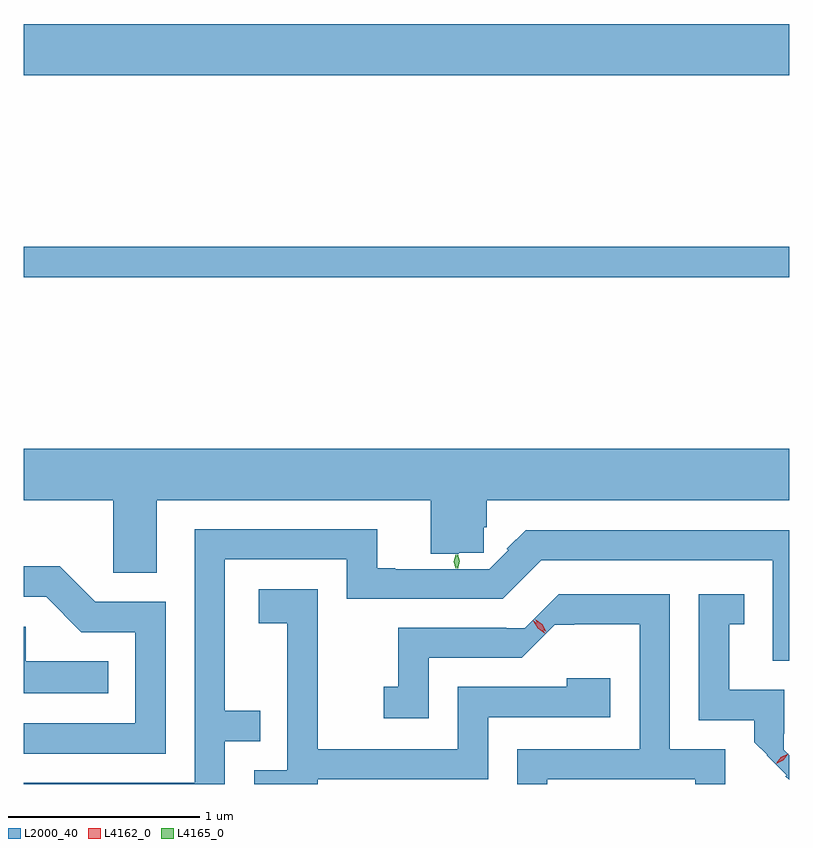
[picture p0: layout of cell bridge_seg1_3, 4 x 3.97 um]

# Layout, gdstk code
import gdstk
lib = gdstk.Library(unit=1e-6, precision=1e-09)
def R(c, l, rs):  # rectangles x0, y0, x1, y1
    for r in rs: c.add(gdstk.rectangle(r[:2], r[2:], *l))
def P(c, l, *ps):  # polygons
    for p in ps: c.add(gdstk.Polygon(p, *l))
L2000_40 = (2000, 40)
L4162_0 = (4162, 0)
L4165_0 = (4165, 0)

bridge_seg1_3 = lib.new_cell('bridge_seg1_3')
R(bridge_seg1_3, L2000_40, [(1534.533,878.541,1538.533,878.699), (1534.533,879.596,1538.533,879.864)])
P(bridge_seg1_3, L2000_40, [(1535.229,877.376),(1536.661,877.376),(1536.661,877.096),(1536.807,877.096),(1536.807,877.101),(1536.938,877.101),(1536.938,877.234),(1536.952,877.234),(1536.952,877.376),(1538.533,877.376),(1538.533,877.644),(1534.533,877.644),(1534.533,877.376),(1535.001,877.376),(1535.001,876.996),(1535.229,876.996)],
  [(1535.584,876.116),(1535.768,876.116),(1535.768,876.274),(1535.584,876.274),(1535.584,877.066),(1536.221,877.066),(1536.221,876.861),(1537.037,876.861),(1537.237,877.061),(1538.446,877.061),(1538.446,876.536),(1538.533,876.536),(1538.533,877.219),(1537.155,877.219),(1537.057,877.121),(1537.064,877.114),(1536.965,877.014),(1536.475,877.014),(1536.475,877.019),(1536.379,877.019),(1536.379,877.224),(1535.426,877.224),(1535.426,875.899),(1534.533,875.899),(1534.533,875.892),(1535.584,875.892)],
  [(1535.274,876.844),(1534.907,876.844),(1534.722,877.029),(1534.533,877.029),(1534.533,876.871),(1534.649,876.871),(1534.834,876.686),(1535.116,876.686),(1535.116,876.209),(1534.533,876.209),(1534.533,876.051),(1535.274,876.051)],
  [(1536.069,875.916),(1536.959,875.916),(1536.959,876.241),(1537.599,876.241),(1537.599,876.444),(1537.371,876.444),(1537.371,876.399),(1536.801,876.399),(1536.801,876.074),(1536.069,876.074),(1536.069,876.909),(1535.761,876.909),(1535.761,876.731),(1535.911,876.731),(1535.911,875.964),(1535.736,875.964),(1535.736,875.892),(1536.069,875.892)],
  [(1538.533,876.043),(1538.505,876.071),(1538.505,876.155),(1538.508,876.155),(1538.508,876.384),(1538.219,876.384),(1538.219,876.726),(1538.298,876.726),(1538.298,876.884),(1538.061,876.884),(1538.061,876.226),(1538.351,876.226),(1538.351,876.111),(1538.418,876.044),(1538.416,876.042),(1538.519,875.939),(1538.513,875.933),(1538.533,875.913)],
  [(1537.269,875.916),(1538.041,875.916),(1538.041,875.892),(1538.199,875.892),(1538.199,876.074),(1537.909,876.074),(1537.909,876.884),(1537.329,876.884),(1537.151,876.706),(1537.055,876.706),(1537.055,876.709),(1536.491,876.709),(1536.491,876.399),(1536.413,876.399),(1536.413,876.236),(1536.649,876.236),(1536.649,876.551),(1537.136,876.551),(1537.309,876.724),(1537.409,876.724),(1537.409,876.726),(1537.751,876.726),(1537.751,876.074),(1537.111,876.074),(1537.111,875.892),(1537.269,875.892)],
  [(1534.973,876.534),(1534.544,876.534),(1534.544,876.714),(1534.533,876.714),(1534.533,876.366),(1534.973,876.366)])
P(bridge_seg1_3, L4162_0, [(1538.465,875.997),(1538.465,875.998),(1538.49,876.031),(1538.528,876.05),(1538.529,876.05),(1538.529,876.049),(1538.503,876.016),(1538.466,875.997)],
  [(1538.469,876.002),(1538.469,876.003),(1538.49,876.032),(1538.522,876.047),(1538.523,876.047),(1538.523,876.046),(1538.502,876.017),(1538.47,876.002)],
  [(1537.264,876.688),(1537.228,876.714),(1537.206,876.753),(1537.206,876.754),(1537.207,876.754),(1537.243,876.727),(1537.264,876.689),(1537.264,876.688)],
  [(1537.257,876.676),(1537.218,876.706),(1537.193,876.748),(1537.193,876.749),(1537.194,876.749),(1537.233,876.719),(1537.258,876.676),(1537.258,876.676)])
P(bridge_seg1_3, L4165_0, [(1536.791,877.019),(1536.791,877.02),(1536.781,877.054),(1536.791,877.09),(1536.791,877.09),(1536.792,877.09),(1536.801,877.054),(1536.792,877.02)],
  [(1536.8,877.017),(1536.8,877.017),(1536.79,877.055),(1536.8,877.093),(1536.8,877.093),(1536.801,877.093),(1536.81,877.055),(1536.801,877.017)])

lib.write_gds('bridge_seg1_3.gds')
